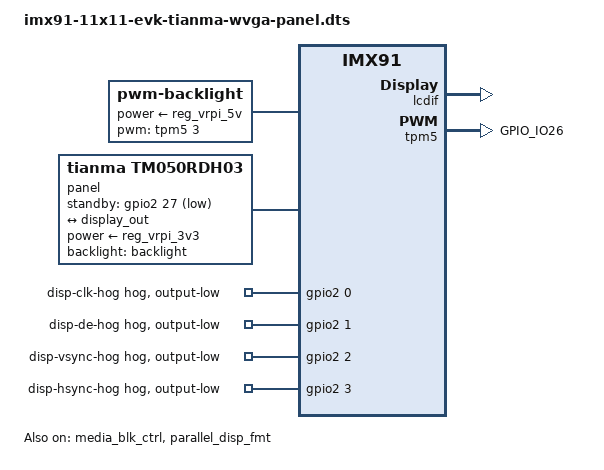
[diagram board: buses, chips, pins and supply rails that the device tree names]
// SPDX-License-Identifier: (GPL-2.0+ OR MIT)
/*
 * Copyright 2024 NXP
 */

#include <dt-bindings/gpio/gpio.h>
#include <dt-bindings/pwm/pwm.h>
#include "imx91-11x11-evk.dts"

/ {
	backlight: backlight {
		compatible = "pwm-backlight";
		pwms = <&tpm5 3 40000 PWM_POLARITY_INVERTED>;	/* 25KHz PWM */
		brightness-levels = <0 100>;
		num-interpolated-steps = <100>;
		default-brightness-level = <80>;
		power-supply = <&reg_vrpi_5v>;
	};

	panel {
		compatible = "tianma,tm050rdh03";
		standby-gpios = <&gpio2 27 GPIO_ACTIVE_LOW>;	/* STBYB */
		backlight = <&backlight>;
		power-supply = <&reg_vrpi_3v3>;

		port {
			panel_in: endpoint {
				remote-endpoint = <&display_out>;
			};
		};
	};
};

&adp5585 {
	/* EXP_SEL RPi */
	exp-sel-hog {
		/delete-property/ output-low;
		output-high;
	};
};

&gpio2 {
	/* avoid power leakage */
	disp-clk-hog {
		gpio-hog;
		gpios = <0 GPIO_ACTIVE_HIGH>;
		output-low;
	};

	disp-de-hog {
		gpio-hog;
		gpios = <1 GPIO_ACTIVE_HIGH>;
		output-low;
	};

	disp-vsync-hog {
		gpio-hog;
		gpios = <2 GPIO_ACTIVE_HIGH>;
		output-low;
	};

	disp-hsync-hog {
		gpio-hog;
		gpios = <3 GPIO_ACTIVE_HIGH>;
		output-low;
	};
};

&iomuxc {
	pinctrl_lcdif: lcdifgrp {
		fsl,pins = <
			MX91_PAD_GPIO_IO00__MEDIAMIX_DISP_CLK		0x31e
			MX91_PAD_GPIO_IO01__MEDIAMIX_DISP_DE		0x31e
			MX91_PAD_GPIO_IO02__MEDIAMIX_DISP_VSYNC		0x31e
			MX91_PAD_GPIO_IO03__MEDIAMIX_DISP_HSYNC		0x31e
			MX91_PAD_GPIO_IO04__MEDIAMIX_DISP_DATA0		0x31e
			MX91_PAD_GPIO_IO05__MEDIAMIX_DISP_DATA1		0x31e
			MX91_PAD_GPIO_IO06__MEDIAMIX_DISP_DATA2		0x31e
			MX91_PAD_GPIO_IO07__MEDIAMIX_DISP_DATA3		0x31e
			MX91_PAD_GPIO_IO08__MEDIAMIX_DISP_DATA4		0x31e
			MX91_PAD_GPIO_IO09__MEDIAMIX_DISP_DATA5		0x31e
			MX91_PAD_GPIO_IO10__MEDIAMIX_DISP_DATA6		0x31e
			MX91_PAD_GPIO_IO11__MEDIAMIX_DISP_DATA7		0x31e
			MX91_PAD_GPIO_IO12__MEDIAMIX_DISP_DATA8		0x31e
			MX91_PAD_GPIO_IO13__MEDIAMIX_DISP_DATA9		0x31e
			MX91_PAD_GPIO_IO14__MEDIAMIX_DISP_DATA10	0x31e
			MX91_PAD_GPIO_IO15__MEDIAMIX_DISP_DATA11	0x31e
			MX91_PAD_GPIO_IO16__MEDIAMIX_DISP_DATA12	0x31e
			MX91_PAD_GPIO_IO17__MEDIAMIX_DISP_DATA13	0x31e
			MX91_PAD_GPIO_IO18__MEDIAMIX_DISP_DATA14	0x31e
			MX91_PAD_GPIO_IO19__MEDIAMIX_DISP_DATA15	0x31e
			MX91_PAD_GPIO_IO20__MEDIAMIX_DISP_DATA16	0x31e
			MX91_PAD_GPIO_IO21__MEDIAMIX_DISP_DATA17	0x31e
			MX91_PAD_GPIO_IO27__GPIO2_IO27			0x31e
		>;
	};

	pinctrl_lcdif_gpio: lcdifgpiogrp {
		fsl,pins = <
			MX91_PAD_GPIO_IO00__GPIO2_IO0			0x51e
			MX91_PAD_GPIO_IO01__GPIO2_IO1			0x51e
			MX91_PAD_GPIO_IO02__GPIO2_IO2			0x51e
			MX91_PAD_GPIO_IO03__GPIO2_IO3			0x51e
			MX91_PAD_GPIO_IO04__GPIO2_IO4			0x51e
			MX91_PAD_GPIO_IO05__GPIO2_IO5			0x51e
			MX91_PAD_GPIO_IO06__GPIO2_IO6			0x51e
			MX91_PAD_GPIO_IO07__GPIO2_IO7			0x51e
			MX91_PAD_GPIO_IO08__GPIO2_IO8			0x51e
			MX91_PAD_GPIO_IO09__GPIO2_IO9			0x51e
			MX91_PAD_GPIO_IO10__GPIO2_IO10			0x51e
			MX91_PAD_GPIO_IO11__GPIO2_IO11			0x51e
			MX91_PAD_GPIO_IO12__GPIO2_IO12			0x51e
			MX91_PAD_GPIO_IO13__GPIO2_IO13			0x51e
			MX91_PAD_GPIO_IO14__GPIO2_IO14			0x51e
			MX91_PAD_GPIO_IO15__GPIO2_IO15			0x51e
			MX91_PAD_GPIO_IO16__GPIO2_IO16			0x51e
			MX91_PAD_GPIO_IO17__GPIO2_IO17			0x51e
			MX91_PAD_GPIO_IO18__GPIO2_IO18			0x51e
			MX91_PAD_GPIO_IO19__GPIO2_IO19			0x51e
			MX91_PAD_GPIO_IO20__GPIO2_IO20			0x51e
			MX91_PAD_GPIO_IO21__GPIO2_IO21			0x51e
			MX91_PAD_GPIO_IO27__GPIO2_IO27			0x51e
		>;
	};

	pinctrl_tpm5_ch3: tpm5ch3grp {
		fsl,pins = <
			MX91_PAD_GPIO_IO26__TPM5_CH3	0x31e
		>;
	};
};

&lcdif {
	assigned-clock-rates = <300000000>, <30000000>, <333333334>, <125000000>;
	status = "okay";
};

&media_blk_ctrl {
	status = "okay";
};

&parallel_disp_fmt {
	pinctrl-names = "default", "gpio";
	pinctrl-0 = <&pinctrl_lcdif>;
	pinctrl-1 = <&pinctrl_lcdif_gpio>;
	fsl,interface-pix-fmt = "rgb666";
	status = "okay";

	ports {
		port@1 {
			reg = <1>;

			display_out: endpoint {
				remote-endpoint = <&panel_in>;
			};
		};
	};
};

/* pin conflicts */
&sai3 {
	status = "disabled";
};

&tpm5 {
	pinctrl-names = "default";
	pinctrl-0 = <&pinctrl_tpm5_ch3>;
	status = "okay";
};
